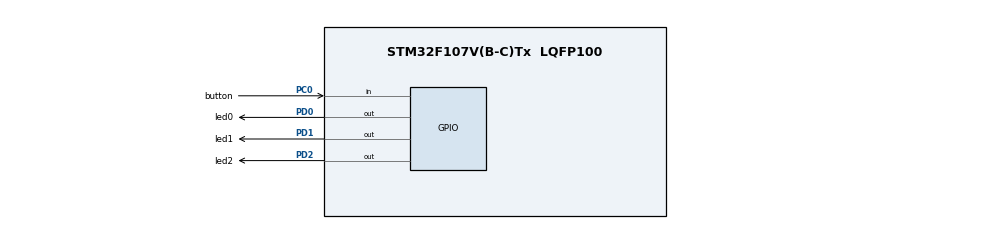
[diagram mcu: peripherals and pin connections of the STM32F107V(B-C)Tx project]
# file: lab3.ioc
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Mcu.Family=STM32F1
Mcu.Name=STM32F107V(B-C)Tx
Mcu.Package=LQFP100
NVIC.PriorityGroup=NVIC_PRIORITYGROUP_4
PC0.GPIO_Label=button
PC0.GPIO_PuPd=GPIO_PULLDOWN
PC0.Signal=GPIO_Input
PD0.GPIO_Label=led0
PD0.Signal=GPIO_Output
PD1.GPIO_Label=led1
PD1.Signal=GPIO_Output
PD2.GPIO_Label=led2
PD2.Signal=GPIO_Output
ProjectManager.HeapSize=0x200
ProjectManager.StackSize=0x400
ProjectManager.TargetToolchain=MDK-ARM V5.32
RCC.USBFreq_Value=10666666.666666666
VP_SYS_VS_ND.Mode=No_Debug
board=custom

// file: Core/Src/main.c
/* USER CODE BEGIN Header */
/**
  ******************************************************************************
  * @file           : main.c
  * @brief          : Main program body
  ******************************************************************************
  * @attention
  *
  * Copyright (c) 2025 STMicroelectronics.
  * All rights reserved.
  *
  * This software is licensed under terms that can be found in the LICENSE file
  * in the root directory of this software component.
  * If no LICENSE file comes with this software, it is provided AS-IS.
  *
  ******************************************************************************
  */
/* USER CODE END Header */
#include "main.h"

void SystemClock_Config(void);
static void MX_GPIO_Init(void);

int main(void)
{

  /* MCU Configuration--------------------------------------------------------*/

  /* Reset of all peripherals, Initializes the Flash interface and the Systick. */
  HAL_Init();

  /* Configure the system clock */
  SystemClock_Config();

  /* Initialize all configured peripherals */
  MX_GPIO_Init();

  /* Infinite loop */
  /* USER CODE BEGIN WHILE */
	GPIO_PinState button_state= GPIO_PIN_RESET;
	GPIO_PinState last_button_state= GPIO_PIN_RESET;
	uint16_t counter = 0;

  while (1)
  {
    /* USER CODE END WHILE */

    /* USER CODE BEGIN 3 */
		last_button_state = button_state;
		button_state = HAL_GPIO_ReadPin(button_GPIO_Port, button_Pin);

		if(button_state == last_button_state || button_state == GPIO_PIN_RESET) continue;

		last_button_state = button_state;
		counter++;

		GPIO_PinState led0_value , led1_value , led2_value ;

		led0_value = (counter & (uint16_t) 1) ? GPIO_PIN_SET : GPIO_PIN_RESET;
		led1_value = (counter & (uint16_t) 2) ? GPIO_PIN_SET : GPIO_PIN_RESET;
		led2_value  = (counter & (uint16_t) 4) ? GPIO_PIN_SET : GPIO_PIN_RESET;

		led0_GPIO_Port->BSRR = (led0_value ? led0_Pin : led0_Pin << 16u) |
													 (led1_value ? led1_Pin : led1_Pin << 16u) |
													 (led2_value ? led2_Pin : led2_Pin << 16u);
  }
  /* USER CODE END 3 */
}

void SystemClock_Config(void)
{
  RCC_OscInitTypeDef RCC_OscInitStruct = {0};
  RCC_ClkInitTypeDef RCC_ClkInitStruct = {0};

  /** Initializes the RCC Oscillators according to the specified parameters
  * in the RCC_OscInitTypeDef structure.
  */
  RCC_OscInitStruct.OscillatorType = RCC_OSCILLATORTYPE_HSI;
  RCC_OscInitStruct.HSIState = RCC_HSI_ON;
  RCC_OscInitStruct.HSICalibrationValue = RCC_HSICALIBRATION_DEFAULT;
  RCC_OscInitStruct.PLL.PLLState = RCC_PLL_NONE;
  RCC_OscInitStruct.PLL2.PLL2State = RCC_PLL_NONE;
  if (HAL_RCC_OscConfig(&RCC_OscInitStruct) != HAL_OK)
  {
    Error_Handler();
  }

  /** Initializes the CPU, AHB and APB buses clocks
  */
  RCC_ClkInitStruct.ClockType = RCC_CLOCKTYPE_HCLK|RCC_CLOCKTYPE_SYSCLK
                              |RCC_CLOCKTYPE_PCLK1|RCC_CLOCKTYPE_PCLK2;
  RCC_ClkInitStruct.SYSCLKSource = RCC_SYSCLKSOURCE_HSI;
  RCC_ClkInitStruct.AHBCLKDivider = RCC_SYSCLK_DIV1;
  RCC_ClkInitStruct.APB1CLKDivider = RCC_HCLK_DIV1;
  RCC_ClkInitStruct.APB2CLKDivider = RCC_HCLK_DIV1;

  if (HAL_RCC_ClockConfig(&RCC_ClkInitStruct, FLASH_LATENCY_0) != HAL_OK)
  {
    Error_Handler();
  }

  /** Configure the Systick interrupt time
  */
  __HAL_RCC_PLLI2S_ENABLE();
}

static void MX_GPIO_Init(void)
{
  GPIO_InitTypeDef GPIO_InitStruct = {0};

  /* GPIO Ports Clock Enable */
  __HAL_RCC_GPIOC_CLK_ENABLE();
  __HAL_RCC_GPIOD_CLK_ENABLE();

  /*Configure GPIO pin Output Level */
  HAL_GPIO_WritePin(GPIOD, led0_Pin|led1_Pin|led2_Pin, GPIO_PIN_RESET);

  /*Configure GPIO pin : button_Pin */
  GPIO_InitStruct.Pin = button_Pin;
  GPIO_InitStruct.Mode = GPIO_MODE_INPUT;
  GPIO_InitStruct.Pull = GPIO_PULLDOWN;
  HAL_GPIO_Init(button_GPIO_Port, &GPIO_InitStruct);

  /*Configure GPIO pins : led0_Pin led1_Pin led2_Pin */
  GPIO_InitStruct.Pin = led0_Pin|led1_Pin|led2_Pin;
  GPIO_InitStruct.Mode = GPIO_MODE_OUTPUT_PP;
  GPIO_InitStruct.Pull = GPIO_NOPULL;
  GPIO_InitStruct.Speed = GPIO_SPEED_FREQ_LOW;
  HAL_GPIO_Init(GPIOD, &GPIO_InitStruct);

}

void Error_Handler(void)
{
  __disable_irq();
  while (1)
  {
  }
}
